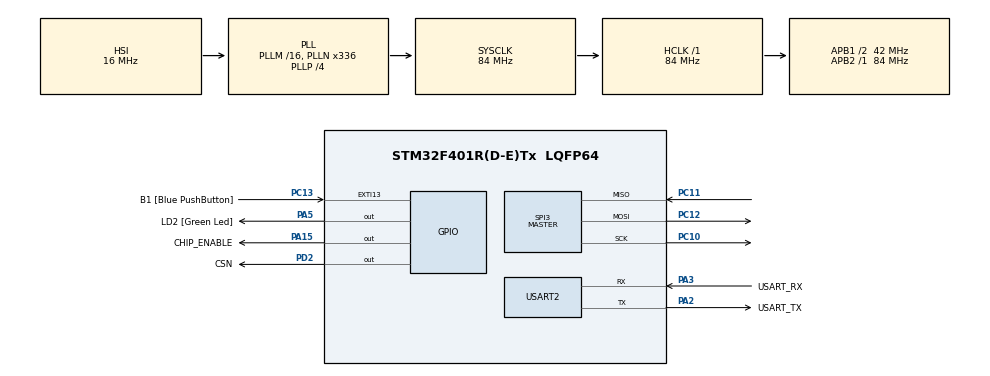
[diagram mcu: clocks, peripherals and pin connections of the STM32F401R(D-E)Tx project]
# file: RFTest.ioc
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Mcu.Family=STM32F4
Mcu.Name=STM32F401R(D-E)Tx
Mcu.Package=LQFP64
NVIC.PriorityGroup=NVIC_PRIORITYGROUP_0
PA13.GPIO_Label=TMS
PA13.Mode=Serial_Wire
PA13.Signal=SYS_JTMS-SWDIO
PA14.GPIO_Label=TCK
PA14.Mode=Serial_Wire
PA14.Signal=SYS_JTCK-SWCLK
PA15.GPIO_Label=CHIP_ENABLE
PA15.Signal=GPIO_Output
PA2.GPIO_Label=USART_TX
PA2.GPIO_Mode=GPIO_MODE_AF_PP
PA2.GPIO_PuPd=GPIO_NOPULL
PA2.GPIO_Speed=GPIO_SPEED_FREQ_LOW
PA2.Mode=Asynchronous
PA2.Signal=USART2_TX
PA3.GPIO_Label=USART_RX
PA3.GPIO_Mode=GPIO_MODE_AF_PP
PA3.GPIO_PuPd=GPIO_NOPULL
PA3.GPIO_Speed=GPIO_SPEED_FREQ_LOW
PA3.Mode=Asynchronous
PA3.Signal=USART2_RX
PA5.GPIO_Label=LD2 [Green Led]
PA5.GPIO_Mode=GPIO_MODE_OUTPUT_PP
PA5.GPIO_PuPd=GPIO_NOPULL
PA5.GPIO_Speed=GPIO_SPEED_FREQ_LOW
PA5.Signal=GPIO_Output
PB3.GPIO_Label=SWO
PB3.Signal=SYS_JTDO-SWO
PC10.Mode=Full_Duplex_Master
PC10.Signal=SPI3_SCK
PC11.Mode=Full_Duplex_Master
PC11.Signal=SPI3_MISO
PC12.Mode=Full_Duplex_Master
PC12.Signal=SPI3_MOSI
PC13-ANTI_TAMP.GPIO_Label=B1 [Blue PushButton]
PC13-ANTI_TAMP.GPIO_ModeDefaultEXTI=GPIO_MODE_IT_FALLING
PC13-ANTI_TAMP.GPIO_PuPd=GPIO_NOPULL
PC13-ANTI_TAMP.Signal=GPXTI13
PC14-OSC32_IN.Mode=LSE-External-Oscillator
PC14-OSC32_IN.Signal=RCC_OSC32_IN
PC15-OSC32_OUT.Mode=LSE-External-Oscillator
PC15-OSC32_OUT.Signal=RCC_OSC32_OUT
PD2.GPIO_Label=CSN
PD2.Signal=GPIO_Output
PH0\ -\ OSC_IN.Mode=HSE-External-Clock-Source
PH0\ -\ OSC_IN.Signal=RCC_OSC_IN
PH1\ -\ OSC_OUT.Mode=HSE-External-Clock-Source
PH1\ -\ OSC_OUT.Signal=RCC_OSC_OUT
ProjectManager.HeapSize=0x200
ProjectManager.StackSize=0x400
ProjectManager.TargetToolchain=STM32CubeIDE
RCC.48MHZClocksFreq_Value=48000000
RCC.AHBFreq_Value=84000000
RCC.APB1CLKDivider=RCC_HCLK_DIV2
RCC.APB1Freq_Value=42000000
RCC.APB1TimFreq_Value=84000000
RCC.APB2Freq_Value=84000000
RCC.APB2TimFreq_Value=84000000
RCC.CortexFreq_Value=84000000
RCC.HCLKFreq_Value=84000000
RCC.HSE_VALUE=8000000
RCC.HSI_VALUE=16000000
RCC.PLLN=336
RCC.PLLP=RCC_PLLP_DIV4
RCC.PLLQ=7
RCC.SYSCLKFreq_VALUE=84000000
RCC.SYSCLKSource=RCC_SYSCLKSOURCE_PLLCLK
RCC.VCOOutputFreq_Value=336000000
SPI3.BaudRatePrescaler=SPI_BAUDRATEPRESCALER_4
SPI3.Direction=SPI_DIRECTION_2LINES
SPI3.Mode=SPI_MODE_MASTER
SPI3.VirtualType=VM_MASTER
TIM1.Period=0xffff-1
TIM1.Prescaler=84-1
USART2.VirtualMode=VM_ASYNC
VP_TIM1_VS_ClockSourceINT.Mode=Internal
board=NUCLEO-F401RE

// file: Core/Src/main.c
/* USER CODE BEGIN Header */
/**
  ******************************************************************************
  * @file           : main.c
  * @brief          : Main program body
  ******************************************************************************
  * @attention
  *
  * Copyright (c) 2023 STMicroelectronics.
  * All rights reserved.
  *
  * This software is licensed under terms that can be found in the LICENSE file
  * in the root directory of this software component.
  * If no LICENSE file comes with this software, it is provided AS-IS.
  *
  ******************************************************************************
  */
/* USER CODE END Header */
#include "main.h"

/* USER CODE BEGIN Includes */
// READ_RF
// SEND_IMAGE_RF
#define SEND_IMAGE_RF
#ifdef SEND_IMAGE_RF
#include "displayST7789.h"
#include "testImages/mandoBW1.h"
#endif
#include "RFDriver.h"
/* USER CODE END Includes */

SPI_HandleTypeDef hspi3;

TIM_HandleTypeDef htim1;

UART_HandleTypeDef huart2;

void SystemClock_Config(void);
static void MX_GPIO_Init(void);
static void MX_USART2_UART_Init(void);
static void MX_SPI3_Init(void);
static void MX_TIM1_Init(void);

/* USER CODE BEGIN 0 */
void delay(uint16_t microSeconds)
{
	__HAL_TIM_SET_COUNTER(&htim1, 0);
	while(__HAL_TIM_GET_COUNTER(&htim1) < microSeconds);
}
/* USER CODE END 0 */

int main(void)
{

  /* MCU Configuration--------------------------------------------------------*/

  /* Reset of all peripherals, Initializes the Flash interface and the Systick. */
  HAL_Init();

  /* Configure the system clock */
  SystemClock_Config();

  /* Initialize all configured peripherals */
  MX_GPIO_Init();
  MX_USART2_UART_Init();
  MX_SPI3_Init();
  MX_TIM1_Init();
  /* USER CODE BEGIN 2 */
  RF_HandleTypeDef hRF;
  hRF.hspi = &hspi3;
  hRF.portCE = CHIP_ENABLE_GPIO_Port;
  hRF.pinCE = CHIP_ENABLE_Pin;
  hRF.portCSN = CSN_GPIO_Port;
  hRF.pinCSN = CSN_Pin;
  RFSetup(hRF);

  #ifdef READ_RF
  RXSetup();
  #endif
  #ifdef SEND_IMAGE_RF
  TXSetup();
  int loopCount = 0;
  #endif
  HAL_Delay(50);

  HAL_TIM_Base_Start(&htim1);

  /* USER CODE END 2 */

  /* Infinite loop */
  while (1)
  {

    /* USER CODE BEGIN 3 */
	uint8_t data[32];
	#ifdef READ_RF
	if (RXReceive(data))
	{
		HAL_GPIO_WritePin(LD2_GPIO_Port, LD2_Pin, GPIO_PIN_SET);
		uint8_t buf[40];
		uint16_t xpot = 0;
		uint16_t ypot = 0;
		decodeData(data, &xpot, &ypot);
		sprintf(buf, "x_pot: %lu, y_pot %lu \r\n", xpot, ypot);
		HAL_UART_Transmit(&huart2, buf, strlen(buf), 1000);
		//HAL_UART_Transmit(&huart2, data, sizeOfData, 1000);
		//HAL_UART_Transmit(&huart2, data, sizeOfData, 1000);
	}
	else
	{
		HAL_GPIO_WritePin(LD2_GPIO_Port, LD2_Pin, GPIO_PIN_RESET);
	}
	#endif

    #ifdef SEND_IMAGE_RF
	for (uint16_t lineNumber = 0; lineNumber < DISPLAY_HEIGHT; lineNumber+=2)
	{
		encodeImage(data, lineNumber, mando + 30*lineNumber + loopCount);
		TXSend(data);
		encodeImage(data, lineNumber+1, mando + 30*(lineNumber+1) + loopCount);
		TXSend(data);
		//HAL_Delay(1);
		delay(999);
	}
	//HAL_Delay(30);
	loopCount++;
	loopCount = loopCount%30;
	#endif

	// Read RF data from controller
	// Spoof image to controller.

  }
  /* USER CODE END 3 */
}

void SystemClock_Config(void)
{
  RCC_OscInitTypeDef RCC_OscInitStruct = {0};
  RCC_ClkInitTypeDef RCC_ClkInitStruct = {0};

  /** Configure the main internal regulator output voltage
  */
  __HAL_RCC_PWR_CLK_ENABLE();
  __HAL_PWR_VOLTAGESCALING_CONFIG(PWR_REGULATOR_VOLTAGE_SCALE2);

  /** Initializes the RCC Oscillators according to the specified parameters
  * in the RCC_OscInitTypeDef structure.
  */
  RCC_OscInitStruct.OscillatorType = RCC_OSCILLATORTYPE_HSI;
  RCC_OscInitStruct.HSIState = RCC_HSI_ON;
  RCC_OscInitStruct.HSICalibrationValue = RCC_HSICALIBRATION_DEFAULT;
  RCC_OscInitStruct.PLL.PLLState = RCC_PLL_ON;
  RCC_OscInitStruct.PLL.PLLSource = RCC_PLLSOURCE_HSI;
  RCC_OscInitStruct.PLL.PLLM = 16;
  RCC_OscInitStruct.PLL.PLLN = 336;
  RCC_OscInitStruct.PLL.PLLP = RCC_PLLP_DIV4;
  RCC_OscInitStruct.PLL.PLLQ = 7;
  if (HAL_RCC_OscConfig(&RCC_OscInitStruct) != HAL_OK)
  {
    Error_Handler();
  }

  /** Initializes the CPU, AHB and APB buses clocks
  */
  RCC_ClkInitStruct.ClockType = RCC_CLOCKTYPE_HCLK|RCC_CLOCKTYPE_SYSCLK
                              |RCC_CLOCKTYPE_PCLK1|RCC_CLOCKTYPE_PCLK2;
  RCC_ClkInitStruct.SYSCLKSource = RCC_SYSCLKSOURCE_PLLCLK;
  RCC_ClkInitStruct.AHBCLKDivider = RCC_SYSCLK_DIV1;
  RCC_ClkInitStruct.APB1CLKDivider = RCC_HCLK_DIV2;
  RCC_ClkInitStruct.APB2CLKDivider = RCC_HCLK_DIV1;

  if (HAL_RCC_ClockConfig(&RCC_ClkInitStruct, FLASH_LATENCY_2) != HAL_OK)
  {
    Error_Handler();
  }
}

static void MX_SPI3_Init(void)
{

  /* SPI3 parameter configuration*/
  hspi3.Instance = SPI3;
  hspi3.Init.Mode = SPI_MODE_MASTER;
  hspi3.Init.Direction = SPI_DIRECTION_2LINES;
  hspi3.Init.DataSize = SPI_DATASIZE_8BIT;
  hspi3.Init.CLKPolarity = SPI_POLARITY_LOW;
  hspi3.Init.CLKPhase = SPI_PHASE_1EDGE;
  hspi3.Init.NSS = SPI_NSS_SOFT;
  hspi3.Init.BaudRatePrescaler = SPI_BAUDRATEPRESCALER_4;
  hspi3.Init.FirstBit = SPI_FIRSTBIT_MSB;
  hspi3.Init.TIMode = SPI_TIMODE_DISABLE;
  hspi3.Init.CRCCalculation = SPI_CRCCALCULATION_DISABLE;
  hspi3.Init.CRCPolynomial = 10;
  if (HAL_SPI_Init(&hspi3) != HAL_OK)
  {
    Error_Handler();
  }

}

static void MX_TIM1_Init(void)
{

  TIM_ClockConfigTypeDef sClockSourceConfig = {0};
  TIM_MasterConfigTypeDef sMasterConfig = {0};

  htim1.Instance = TIM1;
  htim1.Init.Prescaler = 84-1;
  htim1.Init.CounterMode = TIM_COUNTERMODE_UP;
  htim1.Init.Period = 0xffff-1;
  htim1.Init.ClockDivision = TIM_CLOCKDIVISION_DIV1;
  htim1.Init.RepetitionCounter = 0;
  htim1.Init.AutoReloadPreload = TIM_AUTORELOAD_PRELOAD_DISABLE;
  if (HAL_TIM_Base_Init(&htim1) != HAL_OK)
  {
    Error_Handler();
  }
  sClockSourceConfig.ClockSource = TIM_CLOCKSOURCE_INTERNAL;
  if (HAL_TIM_ConfigClockSource(&htim1, &sClockSourceConfig) != HAL_OK)
  {
    Error_Handler();
  }
  sMasterConfig.MasterOutputTrigger = TIM_TRGO_RESET;
  sMasterConfig.MasterSlaveMode = TIM_MASTERSLAVEMODE_DISABLE;
  if (HAL_TIMEx_MasterConfigSynchronization(&htim1, &sMasterConfig) != HAL_OK)
  {
    Error_Handler();
  }

}

static void MX_USART2_UART_Init(void)
{

  huart2.Instance = USART2;
  huart2.Init.BaudRate = 115200;
  huart2.Init.WordLength = UART_WORDLENGTH_8B;
  huart2.Init.StopBits = UART_STOPBITS_1;
  huart2.Init.Parity = UART_PARITY_NONE;
  huart2.Init.Mode = UART_MODE_TX_RX;
  huart2.Init.HwFlowCtl = UART_HWCONTROL_NONE;
  huart2.Init.OverSampling = UART_OVERSAMPLING_16;
  if (HAL_UART_Init(&huart2) != HAL_OK)
  {
    Error_Handler();
  }

}

static void MX_GPIO_Init(void)
{
  GPIO_InitTypeDef GPIO_InitStruct = {0};

  /* GPIO Ports Clock Enable */
  __HAL_RCC_GPIOC_CLK_ENABLE();
  __HAL_RCC_GPIOH_CLK_ENABLE();
  __HAL_RCC_GPIOA_CLK_ENABLE();
  __HAL_RCC_GPIOD_CLK_ENABLE();
  __HAL_RCC_GPIOB_CLK_ENABLE();

  /*Configure GPIO pin Output Level */
  HAL_GPIO_WritePin(GPIOA, LD2_Pin|CHIP_ENABLE_Pin, GPIO_PIN_RESET);

  /*Configure GPIO pin Output Level */
  HAL_GPIO_WritePin(CSN_GPIO_Port, CSN_Pin, GPIO_PIN_RESET);

  /*Configure GPIO pin : B1_Pin */
  GPIO_InitStruct.Pin = B1_Pin;
  GPIO_InitStruct.Mode = GPIO_MODE_IT_FALLING;
  GPIO_InitStruct.Pull = GPIO_NOPULL;
  HAL_GPIO_Init(B1_GPIO_Port, &GPIO_InitStruct);

  /*Configure GPIO pins : LD2_Pin CHIP_ENABLE_Pin */
  GPIO_InitStruct.Pin = LD2_Pin|CHIP_ENABLE_Pin;
  GPIO_InitStruct.Mode = GPIO_MODE_OUTPUT_PP;
  GPIO_InitStruct.Pull = GPIO_NOPULL;
  GPIO_InitStruct.Speed = GPIO_SPEED_FREQ_LOW;
  HAL_GPIO_Init(GPIOA, &GPIO_InitStruct);

  /*Configure GPIO pin : CSN_Pin */
  GPIO_InitStruct.Pin = CSN_Pin;
  GPIO_InitStruct.Mode = GPIO_MODE_OUTPUT_PP;
  GPIO_InitStruct.Pull = GPIO_NOPULL;
  GPIO_InitStruct.Speed = GPIO_SPEED_FREQ_LOW;
  HAL_GPIO_Init(CSN_GPIO_Port, &GPIO_InitStruct);

}

void Error_Handler(void)
{
  __disable_irq();
  while (1)
  {
  }
}
